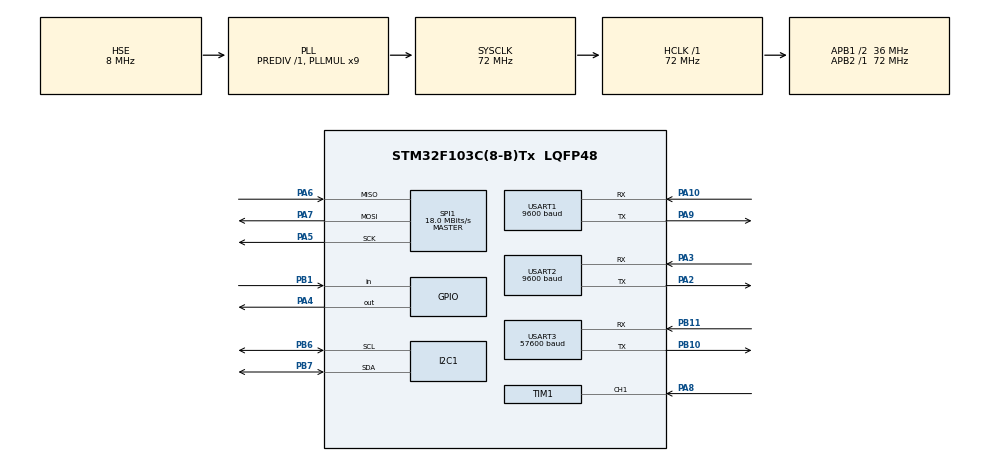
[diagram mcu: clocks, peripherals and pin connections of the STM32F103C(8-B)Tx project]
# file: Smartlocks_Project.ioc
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Dma.Request0=USART2_RX
Dma.Request1=USART2_TX
Dma.Request2=USART3_RX
Dma.Request3=USART3_TX
Dma.USART2_RX.0.Direction=DMA_PERIPH_TO_MEMORY
Dma.USART2_RX.0.Instance=DMA1_Channel6
Dma.USART2_RX.0.MemDataAlignment=DMA_MDATAALIGN_BYTE
Dma.USART2_RX.0.MemInc=DMA_MINC_ENABLE
Dma.USART2_RX.0.Mode=DMA_NORMAL
Dma.USART2_RX.0.PeriphDataAlignment=DMA_PDATAALIGN_BYTE
Dma.USART2_RX.0.PeriphInc=DMA_PINC_DISABLE
Dma.USART2_RX.0.Priority=DMA_PRIORITY_LOW
Dma.USART2_TX.1.Direction=DMA_MEMORY_TO_PERIPH
Dma.USART2_TX.1.Instance=DMA1_Channel7
Dma.USART2_TX.1.MemDataAlignment=DMA_MDATAALIGN_BYTE
Dma.USART2_TX.1.MemInc=DMA_MINC_ENABLE
Dma.USART2_TX.1.Mode=DMA_NORMAL
Dma.USART2_TX.1.PeriphDataAlignment=DMA_PDATAALIGN_BYTE
Dma.USART2_TX.1.PeriphInc=DMA_PINC_DISABLE
Dma.USART2_TX.1.Priority=DMA_PRIORITY_LOW
Dma.USART3_RX.2.Direction=DMA_PERIPH_TO_MEMORY
Dma.USART3_RX.2.Instance=DMA1_Channel3
Dma.USART3_RX.2.MemDataAlignment=DMA_MDATAALIGN_BYTE
Dma.USART3_RX.2.MemInc=DMA_MINC_ENABLE
Dma.USART3_RX.2.Mode=DMA_NORMAL
Dma.USART3_RX.2.PeriphDataAlignment=DMA_PDATAALIGN_BYTE
Dma.USART3_RX.2.PeriphInc=DMA_PINC_DISABLE
Dma.USART3_RX.2.Priority=DMA_PRIORITY_LOW
Dma.USART3_TX.3.Direction=DMA_MEMORY_TO_PERIPH
Dma.USART3_TX.3.Instance=DMA1_Channel2
Dma.USART3_TX.3.MemDataAlignment=DMA_MDATAALIGN_BYTE
Dma.USART3_TX.3.MemInc=DMA_MINC_ENABLE
Dma.USART3_TX.3.Mode=DMA_NORMAL
Dma.USART3_TX.3.PeriphDataAlignment=DMA_PDATAALIGN_BYTE
Dma.USART3_TX.3.PeriphInc=DMA_PINC_DISABLE
Dma.USART3_TX.3.Priority=DMA_PRIORITY_LOW
FREERTOS.Tasks01=soundTask,24,128,soundTask1,Default,NULL,Dynamic,NULL,NULL;infraredTask,24,128,infraredTask1,Default,NULL,Dynamic,NULL,NULL;fingerprintTask,24,128,fingerprintTask1,Default,NULL,Dynamic,NULL,NULL;bluetoothTask,24,128,bluetoothTask1,Default,NULL,Dynamic,NULL,NULL
Mcu.Family=STM32F1
Mcu.Name=STM32F103C(8-B)Tx
Mcu.Package=LQFP48
NVIC.DMA1_Channel2_IRQn=true\:5\:0\:false\:false\:true\:true\:false\:true\:true
NVIC.DMA1_Channel3_IRQn=true\:5\:0\:false\:false\:true\:true\:false\:true\:true
NVIC.DMA1_Channel6_IRQn=true\:5\:0\:false\:false\:true\:true\:false\:true\:true
NVIC.DMA1_Channel7_IRQn=true\:5\:0\:false\:false\:true\:true\:false\:true\:true
NVIC.PriorityGroup=NVIC_PRIORITYGROUP_4
NVIC.SPI1_IRQn=true\:5\:0\:false\:false\:true\:true\:true\:true\:true
NVIC.TIM1_CC_IRQn=true\:5\:0\:false\:false\:true\:true\:true\:true\:true
NVIC.TIM1_UP_IRQn=true\:5\:0\:false\:false\:true\:true\:true\:true\:true
NVIC.TIM2_IRQn=true\:5\:0\:false\:false\:true\:true\:true\:true\:true
NVIC.TIM4_IRQn=true\:15\:0\:false\:false\:true\:false\:false\:true\:true
NVIC.TimeBase=TIM4_IRQn
NVIC.TimeBaseIP=TIM4
NVIC.USART1_IRQn=true\:5\:0\:false\:false\:true\:true\:true\:true\:true
NVIC.USART2_IRQn=true\:5\:0\:false\:false\:true\:true\:true\:true\:true
NVIC.USART3_IRQn=true\:5\:0\:false\:false\:true\:true\:true\:true\:true
PA10.Mode=Asynchronous
PA10.Signal=USART1_RX
PA13.Mode=Serial_Wire
PA13.Signal=SYS_JTMS-SWDIO
PA14.Mode=Serial_Wire
PA14.Signal=SYS_JTCK-SWCLK
PA2.Mode=Asynchronous
PA2.Signal=USART2_TX
PA3.Mode=Asynchronous
PA3.Signal=USART2_RX
PA4.GPIO_ModeDefaultOutputPP=GPIO_MODE_OUTPUT_PP
PA4.GPIO_PuPd=GPIO_PULLUP
PA4.GPIO_Speed=GPIO_SPEED_FREQ_HIGH
PA4.PinState=GPIO_PIN_SET
PA4.Signal=GPIO_Output
PA5.Mode=Full_Duplex_Master
PA5.Signal=SPI1_SCK
PA6.Mode=Full_Duplex_Master
PA6.Signal=SPI1_MISO
PA7.Mode=Full_Duplex_Master
PA7.Signal=SPI1_MOSI
PA8.Signal=S_TIM1_CH1
PA9.Mode=Asynchronous
PA9.Signal=USART1_TX
PB1.GPIO_PuPd=GPIO_PULLDOWN
PB1.Signal=GPIO_Input
PB10.Mode=Asynchronous
PB10.Signal=USART3_TX
PB11.Mode=Asynchronous
PB11.Signal=USART3_RX
PB6.Mode=I2C
PB6.Signal=I2C1_SCL
PB7.Mode=I2C
PB7.Signal=I2C1_SDA
PD0-OSC_IN.Mode=HSE-External-Oscillator
PD0-OSC_IN.Signal=RCC_OSC_IN
PD1-OSC_OUT.Mode=HSE-External-Oscillator
PD1-OSC_OUT.Signal=RCC_OSC_OUT
ProjectManager.HeapSize=0x200
ProjectManager.StackSize=0x400
ProjectManager.TargetToolchain=MDK-ARM V5.32
RCC.AHBFreq_Value=72000000
RCC.APB1CLKDivider=RCC_HCLK_DIV2
RCC.APB1Freq_Value=36000000
RCC.APB1TimFreq_Value=72000000
RCC.APB2Freq_Value=72000000
RCC.APB2TimFreq_Value=72000000
RCC.HCLKFreq_Value=72000000
RCC.PLLMUL=RCC_PLL_MUL9
RCC.PLLSourceVirtual=RCC_PLLSOURCE_HSE
RCC.SYSCLKFreq_VALUE=72000000
RCC.SYSCLKSource=RCC_SYSCLKSOURCE_PLLCLK
RCC.USBFreq_Value=72000000
SH.S_TIM1_CH1.0=TIM1_CH1,Input_Capture1_from_TI1
SPI1.BaudRatePrescaler=SPI_BAUDRATEPRESCALER_4
SPI1.CalculateBaudRate=18.0 MBits/s
SPI1.Direction=SPI_DIRECTION_2LINES
SPI1.Mode=SPI_MODE_MASTER
SPI1.VirtualType=VM_MASTER
TIM1.AutoReloadPreload=TIM_AUTORELOAD_PRELOAD_ENABLE
TIM1.Channel-Input_Capture1_from_TI1=TIM_CHANNEL_1
TIM1.Period=10000-1
TIM1.Prescaler=71
TIM2.AutoReloadPreload=TIM_AUTORELOAD_PRELOAD_ENABLE
TIM2.Period=10000-1
TIM2.Prescaler=7200-1
USART1.BaudRate=9600
USART1.VirtualMode=VM_ASYNC
USART2.BaudRate=9600
USART2.VirtualMode=VM_ASYNC
USART3.BaudRate=57600
USART3.VirtualMode=VM_ASYNC
VP_FREERTOS_VS_CMSIS_V2.Mode=CMSIS_V2
VP_SYS_VS_tim4.Mode=TIM4
VP_TIM2_VS_ClockSourceINT.Mode=Internal
board=custom

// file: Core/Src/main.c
/* USER CODE BEGIN Header */
/**
  ******************************************************************************
  * @file           : main.c
  * @brief          : Main program body
  ******************************************************************************
  * @attention
  *
  * Copyright (c) 2024 STMicroelectronics.
  * All rights reserved.
  *
  * This software is licensed under terms that can be found in the LICENSE file
  * in the root directory of this software component.
  * If no LICENSE file comes with this software, it is provided AS-IS.
  *
  ******************************************************************************
  */
/* USER CODE END Header */
#include "main.h"
#include "cmsis_os.h"
#include "dma.h"
#include "i2c.h"
#include "spi.h"
#include "tim.h"
#include "usart.h"
#include "gpio.h"

/* USER CODE BEGIN Includes */
#include <stdio.h>
/* USER CODE END Includes */

void SystemClock_Config(void);
void MX_FREERTOS_Init(void);

/* USER CODE BEGIN 0 */
/*****************************************
函数名：
参数：无
功能描述：printf输出重定向到串口1
返回值：
*****************************************/
int fputc(int ch,FILE *f){
 uint8_t temp[1]={ch};
 HAL_UART_Transmit(&huart2,temp,1,2);
 return ch;
}
/* USER CODE END 0 */

int main(void)
{

  /* MCU Configuration--------------------------------------------------------*/

  /* Reset of all peripherals, Initializes the Flash interface and the Systick. */
  HAL_Init();

  /* Configure the system clock */
  SystemClock_Config();

  /* Initialize all configured peripherals */
  MX_GPIO_Init();
  MX_DMA_Init();
  MX_USART1_UART_Init();
  MX_USART2_UART_Init();
  MX_I2C1_Init();
  MX_TIM1_Init();
  MX_TIM2_Init();
  MX_USART3_UART_Init();
  MX_SPI1_Init();

  /* Init scheduler */
  osKernelInitialize();  /* Call init function for freertos objects (in freertos.c) */
  MX_FREERTOS_Init();

  /* Start scheduler */
  osKernelStart();
  /* We should never get here as control is now taken by the scheduler */
  /* Infinite loop */
  while (1)
  {

  }
}

void SystemClock_Config(void)
{
  RCC_OscInitTypeDef RCC_OscInitStruct = {0};
  RCC_ClkInitTypeDef RCC_ClkInitStruct = {0};

  /** Initializes the RCC Oscillators according to the specified parameters
  * in the RCC_OscInitTypeDef structure.
  */
  RCC_OscInitStruct.OscillatorType = RCC_OSCILLATORTYPE_HSE;
  RCC_OscInitStruct.HSEState = RCC_HSE_ON;
  RCC_OscInitStruct.HSEPredivValue = RCC_HSE_PREDIV_DIV1;
  RCC_OscInitStruct.HSIState = RCC_HSI_ON;
  RCC_OscInitStruct.PLL.PLLState = RCC_PLL_ON;
  RCC_OscInitStruct.PLL.PLLSource = RCC_PLLSOURCE_HSE;
  RCC_OscInitStruct.PLL.PLLMUL = RCC_PLL_MUL9;
  if (HAL_RCC_OscConfig(&RCC_OscInitStruct) != HAL_OK)
  {
    Error_Handler();
  }

  /** Initializes the CPU, AHB and APB buses clocks
  */
  RCC_ClkInitStruct.ClockType = RCC_CLOCKTYPE_HCLK|RCC_CLOCKTYPE_SYSCLK
                              |RCC_CLOCKTYPE_PCLK1|RCC_CLOCKTYPE_PCLK2;
  RCC_ClkInitStruct.SYSCLKSource = RCC_SYSCLKSOURCE_PLLCLK;
  RCC_ClkInitStruct.AHBCLKDivider = RCC_SYSCLK_DIV1;
  RCC_ClkInitStruct.APB1CLKDivider = RCC_HCLK_DIV2;
  RCC_ClkInitStruct.APB2CLKDivider = RCC_HCLK_DIV1;

  if (HAL_RCC_ClockConfig(&RCC_ClkInitStruct, FLASH_LATENCY_2) != HAL_OK)
  {
    Error_Handler();
  }
}

//void HAL_TIM_PeriodElapsedCallback(TIM_HandleTypeDef *htim)
//{
//  /* USER CODE BEGIN Callback 0 */

//  /* USER CODE END Callback 0 */
//  if (htim->Instance == TIM4) {
//    HAL_IncTick();
//  }
//  /* USER CODE BEGIN Callback 1 */

//  /* USER CODE END Callback 1 */
//}

void Error_Handler(void)
{
  __disable_irq();
  while (1)
  {
  }
}

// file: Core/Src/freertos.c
/* USER CODE BEGIN Header */
/**
  ******************************************************************************
  * File Name          : freertos.c
  * Description        : Code for freertos applications
  ******************************************************************************
  * @attention
  *
  * Copyright (c) 2024 STMicroelectronics.
  * All rights reserved.
  *
  * This software is licensed under terms that can be found in the LICENSE file
  * in the root directory of this software component.
  * If no LICENSE file comes with this software, it is provided AS-IS.
  *
  ******************************************************************************
  */
/* USER CODE END Header */

#include "FreeRTOS.h"
#include "task.h"
#include "main.h"
#include "cmsis_os.h"

/* USER CODE BEGIN Includes */
#include "drivers_oled.h"
#include "driver_hx1838.h"
#include "semphr.h"
#include "usart.h"
#include "driver_sound.h"
#include "tim.h"
#include <stdio.h>
#include "driver_AS608.h"
/* USER CODE END Includes */

/* USER CODE BEGIN PTD */
//串口接收buf
extern uint8_t RecvTmpBuf[50];
extern int lockState;
extern int addfingerstate;
extern int removefingerstate;
//红外停留时间
int stayTime = 0;
//i2c信号量
static SemaphoreHandle_t i2cSemaphoreHandle_t;
//usart信号量
static SemaphoreHandle_t usartSemaphoreHandle_t;
/* USER CODE END PTD */

/* USER CODE BEGIN Variables */
void getSemaphore(SemaphoreHandle_t semaphoreHandle_t)
{
	xSemaphoreTake(semaphoreHandle_t, portMAX_DELAY);
}

void releaseSemaphore(SemaphoreHandle_t semaphoreHandle_t)
{
	xSemaphoreGive(semaphoreHandle_t);
}

/* USER CODE END Variables */
/* Definitions for soundTask */
osThreadId_t soundTaskHandle;
const osThreadAttr_t soundTask_attributes = {
  .name = "soundTask",
  .stack_size = 128 * 4,
  .priority = (osPriority_t) osPriorityNormal,
};
/* Definitions for infraredTask */
osThreadId_t infraredTaskHandle;
const osThreadAttr_t infraredTask_attributes = {
  .name = "infraredTask",
  .stack_size = 128 * 4,
  .priority = (osPriority_t) osPriorityNormal,
};
/* Definitions for fingerprintTask */
osThreadId_t fingerprintTaskHandle;
const osThreadAttr_t fingerprintTask_attributes = {
  .name = "fingerprintTask",
  .stack_size = 128 * 4,
  .priority = (osPriority_t) osPriorityNormal,
};
/* Definitions for bluetoothTask */
osThreadId_t bluetoothTaskHandle;
const osThreadAttr_t bluetoothTask_attributes = {
  .name = "bluetoothTask",
  .stack_size = 128 * 4,
  .priority = (osPriority_t) osPriorityNormal,
};

/* USER CODE BEGIN FunctionPrototypes */
osThreadId_t OledTaskHandle;
const osThreadAttr_t OledTask_attributes = {
  .name = "OledTask",
  .stack_size = 128 * 2,
  .priority = (osPriority_t) osPriorityNormal,
};
void OledTask(void *argument);
/* USER CODE END FunctionPrototypes */

void soundTask1(void *argument);
void infraredTask1(void *argument);
void fingerprintTask1(void *argument);
void bluetoothTask1(void *argument);

void MX_FREERTOS_Init(void); /* (MISRA C 2004 rule 8.1) */

void MX_FREERTOS_Init(void) {
  /* USER CODE BEGIN Init */
  OLED_Init();
  OLED_Clear();
  MX_USART1_UART_Init();
  MX_USART2_UART_Init();
  /* USER CODE END Init */

  /* USER CODE BEGIN RTOS_SEMAPHORES */
  /* add semaphores, ... */
  //i2c信号量
  i2cSemaphoreHandle_t = xSemaphoreCreateCounting(1,1);
  //usart1信号量
  usartSemaphoreHandle_t = xSemaphoreCreateCounting(1,1);
  /* USER CODE END RTOS_SEMAPHORES */

  /* Create the thread(s) */
  /* creation of soundTask */
  soundTaskHandle = osThreadNew(soundTask1, NULL, &soundTask_attributes);

  /* creation of infraredTask */
  infraredTaskHandle = osThreadNew(infraredTask1, NULL, &infraredTask_attributes);

  /* creation of fingerprintTask */
  fingerprintTaskHandle = osThreadNew(fingerprintTask1, NULL, &fingerprintTask_attributes);

  /* creation of bluetoothTask */
  bluetoothTaskHandle = osThreadNew(bluetoothTask1, NULL, &bluetoothTask_attributes);

  /* USER CODE BEGIN RTOS_THREADS */
  /* add threads, ... */
  OledTaskHandle = osThreadNew(OledTask, NULL, &OledTask_attributes);
  /* USER CODE END RTOS_THREADS */

}

/* USER CODE BEGIN Header_soundTask1 */
/**
  * @brief  Function implementing the soundTask thread.
  * @param  argument: Not used
  * @retval None
  */
//声音任务
/* USER CODE END Header_soundTask1 */
void soundTask1(void *argument)
{
  /* USER CODE BEGIN soundTask1 */
  /* Infinite loop */
  for(;;)
  {

	getSemaphore(usartSemaphoreHandle_t);
	//设置音量
	set_volume(20,1000);
	//broadcast_sound(13, 1000);
    releaseSemaphore(usartSemaphoreHandle_t);
	//broadcast_sound(2, 1000);
	//vTaskDelay(2000);
    //osDelay(1);

	//自杀
	vTaskDelete(soundTaskHandle);
  }
  /* USER CODE END soundTask1 */
}

/* USER CODE BEGIN Header_infraredTask1 */
/**
* @brief Function implementing the infraredTask thread.
* @param argument: Not used
* @retval None
//遥控模块
*/
/* USER CODE END Header_infraredTask1 */
void infraredTask1(void *argument)
{
  /* USER CODE BEGIN infraredTask1 */
  /* Infinite loop */
  hx1838_cap_start();
  for(;;)
  {
	 //获取i2c信号量
	 getSemaphore(i2cSemaphoreHandle_t);
	 //获取usart1信号量
	 getSemaphore(usartSemaphoreHandle_t);
	 HX1838_demo();
	 //释放i2c信号量
	 releaseSemaphore(usartSemaphoreHandle_t);
	 //释放usart1信号量
	 releaseSemaphore(i2cSemaphoreHandle_t);
	 vTaskDelay(50);
    //osDelay(1);
  }
  /* USER CODE END infraredTask1 */
}

/* USER CODE BEGIN Header_fingerprintTask1 */
/**
* @brief Function implementing the fingerprintTask thread.
* @param argument: Not used
* @retval None
*/
//指纹任务
/* USER CODE END Header_fingerprintTask1 */
void fingerprintTask1(void *argument)
{
  /* USER CODE BEGIN fingerprintTask1 */
  /* Infinite loop */
  //暂停任务调度器
  //vTaskSuspendAll();
  uint8_t res = 1;
  printf("AS608指纹模块测试开始\r\n");
  res = as608_init();
  if(res == 0)
  {
  	  printf("AS608指纹模块初始化成功\r\n");
  }
  else
   	  printf("AS608指纹模块初始化失败\r\n");

  for(;;)
  {
//	getSemaphore(i2cSemaphoreHandle_t);
//	OLED_PrintString(0,4,"lock:");
//	OLED_PrintSignedVal(0,6,lockState);
//	releaseSemaphore(i2cSemaphoreHandle_t);

	press_FR();//指纹解锁

	if(addfingerstate)
	{
		Add_FR();//添加指纹,默认ID为1， 可根据实际需要修改
	}

	if(removefingerstate)
	{
		Del_FR_Lib();//清空指纹
	}

	//printf("AS608指纹模块测试开始\r\n");

//	printf("AS608指纹模块测试开始\r\n");

    //osDelay(1);
  }
  /* USER CODE END fingerprintTask1 */
}

/* USER CODE BEGIN Header_bluetoothTask1 */
/**
* @brief Function implementing the bluetoothTask thread.
* @param argument: Not used
* @retval None
*/
//蓝牙任务
/* USER CODE END Header_bluetoothTask1 */
void bluetoothTask1(void *argument)
{
  /* USER CODE BEGIN bluetoothTask1 */
  /* Infinite loop */
  uint8_t str = 0xaa;
  HAL_UARTEx_ReceiveToIdle_DMA(&huart2, RecvTmpBuf, 50);			//使能dma + idle接收
  for(;;)
  {
	getSemaphore(i2cSemaphoreHandle_t);
	OLED_ClearLine(0,4);
	OLED_PrintString(0,4,RecvTmpBuf);
	releaseSemaphore(i2cSemaphoreHandle_t);
	vTaskDelay(1000);
    //osDelay(1);
  }
  /* USER CODE END bluetoothTask1 */
}

/* USER CODE BEGIN Application */
//人体红外报警任务
void OledTask(void *argument)
{
  /* USER CODE BEGIN StartTask04 */
  /* Infinite loop */
//	uint32_t i = 0;
//	getSemaphore(i2cSemaphoreHandle_t);
//	OLED_ClearLine(0,2);
//	releaseSemaphore(i2cSemaphoreHandle_t);
  for(;;)
  {
	 //如果检测到了人 开始计时
	 if(HAL_GPIO_ReadPin(GPIOB, GPIO_PIN_1) == GPIO_PIN_SET)
	 {
		getSemaphore(i2cSemaphoreHandle_t);
		HAL_TIM_Base_Start_IT(&htim2);						//启动定时器开始计数
		OLED_PrintSignedVal(0,2,stayTime);

		getSemaphore(usartSemaphoreHandle_t);
		if(stayTime == 30)									//如果停留了30s
		{
			broadcast_sound(9, 1000);						//第一次驱赶
		}
		else if(stayTime == 60)								//如果停留了60s
		{
			broadcast_sound(10, 1000);						//第二次驱赶
		}
		else if(stayTime == 90)								//如果停留了90s
		{
			broadcast_sound(11, 1000);						//第三次驱赶
		}
		else if(stayTime == 120)							//如果停留了120s
		{
			broadcast_sound(13, 1000);						//报警
		}else if((stayTime > 120) && (stayTime % 30 == 0))	//如果一直不走 就每30s提醒一次报警了
		{
			broadcast_sound(13, 1000);						//报警
		}
		releaseSemaphore(usartSemaphoreHandle_t);
		releaseSemaphore(i2cSemaphoreHandle_t);
	 }else
	 {
		//停止计时 计数值清零
		HAL_TIM_Base_Stop_IT(&htim2);
		stayTime = 0;
	 }
	 vTaskDelay(50);
	 //获取i2c信号量
//	 getSemaphore(i2cSemaphoreHandle_t);
//	 OLED_PrintSignedVal(0,2,i++);
//	 //释放i2c信号量
//	 releaseSemaphore(i2cSemaphoreHandle_t);
//	 vTaskDelay(50);
    //osDelay(1);
  }
  /* USER CODE END StartTask04 */
}
/* USER CODE END Application */
